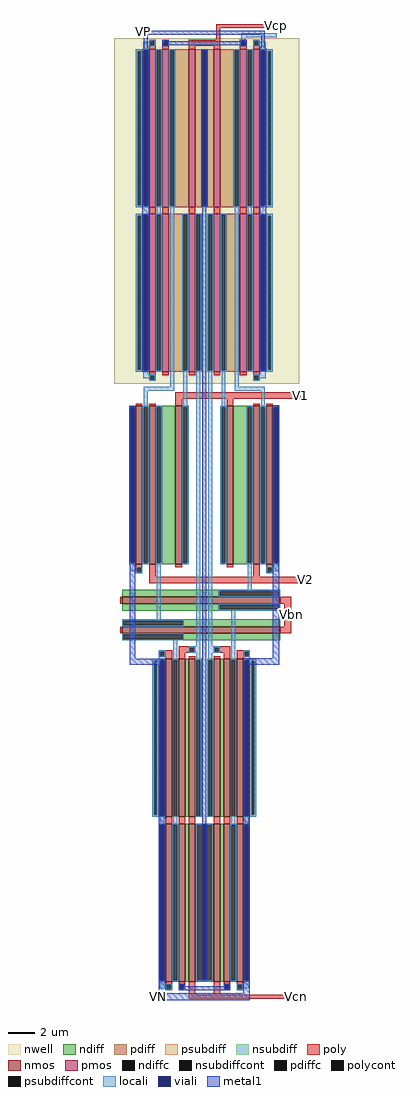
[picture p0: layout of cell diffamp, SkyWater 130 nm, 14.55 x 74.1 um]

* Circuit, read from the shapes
.subckt diffamp Vcp Vbp V1 V2 Vbn Vcn VN VP
XM1 n1 Vbn n2 VN sky130_fd_pr__nfet_01v8 w=12 l=0.5
XM2 n3 Vbn n4 VN sky130_fd_pr__nfet_01v8 w=12 l=0.5
XM3 n5 VN VN VN sky130_fd_pr__nfet_01v8 w=12 l=0.5
XM4 n1 V2 n5 VN sky130_fd_pr__nfet_01v8 w=12 l=0.5
XM5 n2 VN VN VN sky130_fd_pr__nfet_01v8 w=12 l=0.5 m=2
XM6 n6 V1 n1 VN sky130_fd_pr__nfet_01v8 w=12 l=0.5
XM7 n7 n8 n2 VN sky130_fd_pr__nfet_01v8 w=12 l=0.5
XM8 n9 n8 n2 VN sky130_fd_pr__nfet_01v8 w=12 l=0.5
XM9 n10 Vcn n7 VN sky130_fd_pr__nfet_01v8 w=12 l=0.5
XM10 n8 Vcn n9 VN sky130_fd_pr__nfet_01v8 w=12 l=0.5
XM11 n11 Vcn n10 VN sky130_fd_pr__nfet_01v8 w=12 l=0.5
XM12 n12 Vcn n8 VN sky130_fd_pr__nfet_01v8 w=12 l=0.5
XM13 n4 n8 n11 VN sky130_fd_pr__nfet_01v8 w=12 l=0.5
XM14 n4 n8 n12 VN sky130_fd_pr__nfet_01v8 w=12 l=0.5
XM15 n3 V1 n13 VN sky130_fd_pr__nfet_01v8 w=12 l=0.5
XM16 VN VN n4 VN sky130_fd_pr__nfet_01v8 w=12 l=0.5 m=2
XM17 n14 V2 n3 VN sky130_fd_pr__nfet_01v8 w=12 l=0.5
XM18 VN VN n14 VN sky130_fd_pr__nfet_01v8 w=12 l=0.5
XM19 n15 VP VP VP sky130_fd_pr__pfet_01v8 w=12 l=0.5 m=2
XM20 n6 Vbp n15 VP sky130_fd_pr__pfet_01v8 w=12 l=0.5
XM21 n5 Vbp n15 VP sky130_fd_pr__pfet_01v8 w=12 l=0.5
XM22 n8 Vcp n6 VP sky130_fd_pr__pfet_01v8 w=12 l=0.5
XM23 n10 Vcp n5 VP sky130_fd_pr__pfet_01v8 w=12 l=0.5
XM24 n13 Vcp n8 VP sky130_fd_pr__pfet_01v8 w=12 l=0.5
XM25 n14 Vcp n10 VP sky130_fd_pr__pfet_01v8 w=12 l=0.5
XM26 n16 Vbp n13 VP sky130_fd_pr__pfet_01v8 w=12 l=0.5
XM27 n16 Vbp n14 VP sky130_fd_pr__pfet_01v8 w=12 l=0.5
XM28 VP VP n16 VP sky130_fd_pr__pfet_01v8 w=12 l=0.5 m=2
.ends

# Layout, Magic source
magic
tech sky130A
<< nwell >>
rect -775 -1380 630 1240
<< nmos >>
rect -610 -2750 -560 -1550
rect -510 -2750 -460 -1550
rect -310 -2750 -260 -1550
rect 80 -2750 130 -1550
rect 280 -2750 330 -1550
rect 380 -2750 430 -1550
rect -715 -3050 485 -3000
rect -715 -3275 485 -3225
rect -385 -4670 -335 -3470
rect -285 -4670 -235 -3470
rect -210 -4670 -160 -3470
rect -20 -4670 30 -3470
rect 55 -4670 105 -3470
rect 155 -4670 205 -3470
rect -385 -5920 -335 -4720
rect -285 -5920 -235 -4720
rect -210 -5920 -160 -4720
rect -20 -5920 30 -4720
rect 55 -5920 105 -4720
rect 155 -5920 205 -4720
<< pmos >>
rect -510 -40 -460 1160
rect -410 -40 -360 1160
rect -210 -40 -160 1160
rect -20 -40 30 1160
rect 180 -40 230 1160
rect 280 -40 330 1160
rect -510 -1290 -460 -90
rect -410 -1290 -360 -90
rect -210 -1290 -160 -90
rect -20 -1290 30 -90
rect 180 -1290 230 -90
rect 280 -1290 330 -90
<< ndiff >>
rect -660 -1560 -610 -1550
rect -660 -2740 -650 -1560
rect -620 -2740 -610 -1560
rect -660 -2750 -610 -2740
rect -560 -1560 -510 -1550
rect -560 -2740 -550 -1560
rect -520 -2740 -510 -1560
rect -560 -2750 -510 -2740
rect -460 -1560 -310 -1550
rect -460 -2740 -450 -1560
rect -420 -2740 -310 -1560
rect -460 -2750 -310 -2740
rect -260 -1560 -210 -1550
rect -260 -2740 -250 -1560
rect -220 -2740 -210 -1560
rect -260 -2750 -210 -2740
rect 30 -1560 80 -1550
rect 30 -2740 40 -1560
rect 70 -2740 80 -1560
rect 30 -2750 80 -2740
rect 130 -1560 280 -1550
rect 130 -2740 240 -1560
rect 270 -2740 280 -1560
rect 130 -2750 280 -2740
rect 330 -1560 380 -1550
rect 330 -2740 340 -1560
rect 370 -2740 380 -1560
rect 330 -2750 380 -2740
rect 430 -1560 480 -1550
rect 430 -2740 440 -1560
rect 470 -2740 480 -1560
rect 430 -2750 480 -2740
rect -715 -2955 485 -2945
rect -715 -2990 25 -2955
rect 475 -2990 485 -2955
rect -715 -3000 485 -2990
rect -715 -3060 485 -3050
rect -715 -3095 25 -3060
rect 475 -3095 485 -3060
rect -715 -3105 485 -3095
rect -715 -3180 485 -3170
rect -715 -3215 -705 -3180
rect -255 -3215 485 -3180
rect -715 -3225 485 -3215
rect -715 -3285 485 -3275
rect -715 -3320 -705 -3285
rect -255 -3320 485 -3285
rect -715 -3330 485 -3320
rect -435 -3480 -385 -3470
rect -435 -4660 -425 -3480
rect -395 -4660 -385 -3480
rect -435 -4670 -385 -4660
rect -335 -3480 -285 -3470
rect -335 -4660 -325 -3480
rect -295 -4660 -285 -3480
rect -335 -4670 -285 -4660
rect -235 -4670 -210 -3470
rect -160 -3480 -110 -3470
rect -160 -4660 -150 -3480
rect -120 -4660 -110 -3480
rect -160 -4670 -110 -4660
rect -70 -3480 -20 -3470
rect -70 -4660 -60 -3480
rect -30 -4660 -20 -3480
rect -70 -4670 -20 -4660
rect 30 -4670 55 -3470
rect 105 -3480 155 -3470
rect 105 -4660 115 -3480
rect 145 -4660 155 -3480
rect 105 -4670 155 -4660
rect 205 -3480 255 -3470
rect 205 -4660 215 -3480
rect 245 -4660 255 -3480
rect 205 -4670 255 -4660
rect -435 -4730 -385 -4720
rect -435 -5910 -425 -4730
rect -395 -5910 -385 -4730
rect -435 -5920 -385 -5910
rect -335 -4730 -285 -4720
rect -335 -5910 -325 -4730
rect -295 -5910 -285 -4730
rect -335 -5920 -285 -5910
rect -235 -5920 -210 -4720
rect -160 -4735 -20 -4720
rect -160 -5905 -145 -4735
rect -35 -5905 -20 -4735
rect -160 -5920 -20 -5905
rect 30 -5920 55 -4720
rect 105 -4730 155 -4720
rect 105 -5910 115 -4730
rect 145 -5910 155 -4730
rect 105 -5920 155 -5910
rect 205 -4730 255 -4720
rect 205 -5910 215 -4730
rect 245 -5910 255 -4730
rect 205 -5920 255 -5910
<< pdiff >>
rect -560 1150 -510 1160
rect -560 -30 -550 1150
rect -520 -30 -510 1150
rect -560 -40 -510 -30
rect -460 1150 -410 1160
rect -460 -30 -450 1150
rect -420 -30 -410 1150
rect -460 -40 -410 -30
rect -360 1150 -210 1160
rect -360 -30 -350 1150
rect -320 -30 -210 1150
rect -360 -40 -210 -30
rect -160 1150 -20 1160
rect -160 -30 -105 1150
rect -75 -30 -20 1150
rect -160 -40 -20 -30
rect 30 1150 180 1160
rect 30 -30 140 1150
rect 170 -30 180 1150
rect 30 -40 180 -30
rect 230 1150 280 1160
rect 230 -30 240 1150
rect 270 -30 280 1150
rect 230 -40 280 -30
rect 330 1150 380 1160
rect 330 -30 340 1150
rect 370 -30 380 1150
rect 330 -40 380 -30
rect -560 -100 -510 -90
rect -560 -1280 -550 -100
rect -520 -1280 -510 -100
rect -560 -1290 -510 -1280
rect -460 -100 -410 -90
rect -460 -1280 -450 -100
rect -420 -1280 -410 -100
rect -460 -1290 -410 -1280
rect -360 -100 -210 -90
rect -360 -1280 -250 -100
rect -220 -1280 -210 -100
rect -360 -1290 -210 -1280
rect -160 -100 -110 -90
rect -160 -1280 -150 -100
rect -120 -1280 -110 -100
rect -160 -1290 -110 -1280
rect -70 -100 -20 -90
rect -70 -1280 -60 -100
rect -30 -1280 -20 -100
rect -70 -1290 -20 -1280
rect 30 -100 180 -90
rect 30 -1280 40 -100
rect 70 -1280 180 -100
rect 30 -1290 180 -1280
rect 230 -100 280 -90
rect 230 -1280 240 -100
rect 270 -1280 280 -100
rect 230 -1290 280 -1280
rect 330 -100 380 -90
rect 330 -1280 340 -100
rect 370 -1280 380 -100
rect 330 -1290 380 -1280
<< ndiffc >>
rect -650 -2740 -620 -1560
rect -550 -2740 -520 -1560
rect -450 -2740 -420 -1560
rect -250 -2740 -220 -1560
rect 40 -2740 70 -1560
rect 240 -2740 270 -1560
rect 340 -2740 370 -1560
rect 440 -2740 470 -1560
rect 25 -2990 475 -2955
rect 25 -3095 475 -3060
rect -705 -3215 -255 -3180
rect -705 -3320 -255 -3285
rect -425 -4660 -395 -3480
rect -325 -4660 -295 -3480
rect -150 -4660 -120 -3480
rect -60 -4660 -30 -3480
rect 115 -4660 145 -3480
rect 215 -4660 245 -3480
rect -425 -5910 -395 -4730
rect -325 -5910 -295 -4730
rect -145 -5905 -35 -4735
rect 115 -5910 145 -4730
rect 215 -5910 245 -4730
<< pdiffc >>
rect -550 -30 -520 1150
rect -450 -30 -420 1150
rect -350 -30 -320 1150
rect -105 -30 -75 1150
rect 140 -30 170 1150
rect 240 -30 270 1150
rect 340 -30 370 1150
rect -550 -1280 -520 -100
rect -450 -1280 -420 -100
rect -250 -1280 -220 -100
rect -150 -1280 -120 -100
rect -60 -1280 -30 -100
rect 40 -1280 70 -100
rect 240 -1280 270 -100
rect 340 -1280 370 -100
<< psubdiff >>
rect -485 -3485 -435 -3470
rect -485 -4655 -470 -3485
rect -450 -4655 -435 -3485
rect -485 -4670 -435 -4655
rect 255 -3485 305 -3470
rect 255 -4655 270 -3485
rect 290 -4655 305 -3485
rect 255 -4670 305 -4655
<< nsubdiff >>
rect -610 1145 -560 1160
rect -610 -25 -595 1145
rect -575 -25 -560 1145
rect -610 -40 -560 -25
rect 380 1145 430 1160
rect 380 -25 395 1145
rect 415 -25 430 1145
rect 380 -40 430 -25
rect -610 -105 -560 -90
rect -610 -1275 -595 -105
rect -575 -1275 -560 -105
rect -610 -1290 -560 -1275
rect 380 -105 430 -90
rect 380 -1275 395 -105
rect 415 -1275 430 -105
rect 380 -1290 430 -1275
<< psubdiffcont >>
rect -470 -4655 -450 -3485
rect 270 -4655 290 -3485
<< nsubdiffcont >>
rect -595 -25 -575 1145
rect 395 -25 415 1145
rect -595 -1275 -575 -105
rect 395 -1275 415 -105
<< poly >>
rect 0 1320 460 1350
rect 0 1230 30 1320
rect -510 1220 -460 1230
rect -510 1190 -500 1220
rect -470 1190 -460 1220
rect -510 1160 -460 1190
rect -410 1220 -360 1230
rect -410 1190 -400 1220
rect -370 1190 -360 1220
rect -410 1160 -360 1190
rect -210 1185 30 1230
rect -210 1160 -160 1185
rect -20 1160 30 1185
rect 180 1220 230 1230
rect 180 1190 190 1220
rect 220 1190 230 1220
rect 180 1160 230 1190
rect 280 1220 330 1230
rect 280 1190 290 1220
rect 320 1190 330 1220
rect 280 1160 330 1190
rect -510 -90 -460 -40
rect -410 -90 -360 -40
rect -210 -90 -160 -40
rect -20 -90 30 -40
rect 180 -90 230 -40
rect 280 -90 330 -40
rect -510 -1320 -460 -1290
rect -410 -1315 -360 -1290
rect -210 -1315 -160 -1290
rect -20 -1315 30 -1290
rect 180 -1315 230 -1290
rect -510 -1350 -500 -1320
rect -470 -1350 -460 -1320
rect -510 -1360 -460 -1350
rect 280 -1320 330 -1290
rect 280 -1350 290 -1320
rect 320 -1350 330 -1320
rect 280 -1360 330 -1350
rect -310 -1495 640 -1445
rect -610 -1550 -560 -1535
rect -510 -1550 -460 -1535
rect -310 -1550 -260 -1495
rect 80 -1550 130 -1495
rect 280 -1550 330 -1535
rect 380 -1550 430 -1535
rect -610 -2780 -560 -2750
rect -610 -2810 -600 -2780
rect -570 -2810 -560 -2780
rect -610 -2820 -560 -2810
rect -510 -2845 -460 -2750
rect -310 -2775 -260 -2750
rect 80 -2775 130 -2750
rect 280 -2845 330 -2750
rect 380 -2780 430 -2750
rect 380 -2810 390 -2780
rect 420 -2810 430 -2780
rect 380 -2820 430 -2810
rect -510 -2895 680 -2845
rect -730 -3050 -715 -3000
rect 485 -3050 570 -3000
rect 515 -3225 570 -3050
rect -730 -3275 -715 -3225
rect 485 -3275 570 -3225
rect -285 -3385 -160 -3375
rect -435 -3415 -335 -3405
rect -435 -3445 -425 -3415
rect -395 -3445 -335 -3415
rect -435 -3455 -335 -3445
rect -385 -3470 -335 -3455
rect -285 -3415 -200 -3385
rect -170 -3415 -160 -3385
rect -285 -3425 -160 -3415
rect -20 -3385 105 -3375
rect -20 -3415 -10 -3385
rect 20 -3415 105 -3385
rect -20 -3425 105 -3415
rect -285 -3470 -235 -3425
rect -210 -3470 -160 -3450
rect -20 -3470 30 -3450
rect 55 -3470 105 -3425
rect 155 -3415 255 -3405
rect 155 -3445 215 -3415
rect 245 -3445 255 -3415
rect 155 -3455 255 -3445
rect 155 -3470 205 -3455
rect -385 -4720 -335 -4670
rect -285 -4720 -235 -4670
rect -210 -4720 -160 -4670
rect -20 -4720 30 -4670
rect 55 -4720 105 -4670
rect 155 -4720 205 -4670
rect -385 -5945 -335 -5920
rect -385 -5975 -375 -5945
rect -345 -5975 -335 -5945
rect -385 -5985 -335 -5975
rect -285 -5945 -235 -5920
rect -285 -5975 -275 -5945
rect -245 -5975 -235 -5945
rect -285 -5985 -235 -5975
rect -210 -6020 -160 -5920
rect -20 -6020 30 -5920
rect 55 -5945 105 -5920
rect 55 -5975 65 -5945
rect 95 -5975 105 -5945
rect 55 -5985 105 -5975
rect 155 -5945 205 -5920
rect 155 -5975 165 -5945
rect 195 -5975 205 -5945
rect 155 -5985 205 -5975
rect -210 -6050 610 -6020
<< polycont >>
rect -500 1190 -470 1220
rect -400 1190 -370 1220
rect 190 1190 220 1220
rect 290 1190 320 1220
rect -500 -1350 -470 -1320
rect 290 -1350 320 -1320
rect -600 -2810 -570 -2780
rect 390 -2810 420 -2780
rect -425 -3445 -395 -3415
rect -200 -3415 -170 -3385
rect -10 -3415 20 -3385
rect 215 -3445 245 -3415
rect -375 -5975 -345 -5945
rect -275 -5975 -245 -5945
rect 65 -5975 95 -5945
rect 165 -5975 195 -5945
<< locali >>
rect 190 1250 460 1280
rect 190 1230 220 1250
rect -510 1220 -460 1230
rect -510 1215 -500 1220
rect -555 1190 -500 1215
rect -470 1190 -460 1220
rect -555 1180 -460 1190
rect -410 1220 -360 1230
rect -410 1190 -400 1220
rect -370 1190 -360 1220
rect -410 1180 -360 1190
rect 180 1220 230 1230
rect 180 1190 190 1220
rect 220 1190 230 1220
rect 180 1180 230 1190
rect 280 1220 330 1230
rect 280 1190 290 1220
rect 320 1215 330 1220
rect 320 1190 375 1215
rect 280 1180 375 1190
rect -555 1160 -515 1180
rect 335 1160 375 1180
rect -610 1150 -510 1160
rect -610 1145 -550 1150
rect -610 -25 -595 1145
rect -575 -25 -550 1145
rect -610 -30 -550 -25
rect -520 -30 -510 1150
rect -610 -40 -510 -30
rect -460 1150 -410 1160
rect -460 -30 -450 1150
rect -420 -30 -410 1150
rect -460 -40 -410 -30
rect -360 1150 -310 1160
rect -360 -30 -350 1150
rect -320 -30 -310 1150
rect -360 -40 -310 -30
rect -115 1150 -65 1155
rect -115 -30 -105 1150
rect -75 -30 -65 1150
rect -115 -40 -65 -30
rect 130 1150 180 1160
rect 130 -30 140 1150
rect 170 -30 180 1150
rect 130 -40 180 -30
rect 230 1150 280 1160
rect 230 -30 240 1150
rect 270 -30 280 1150
rect 230 -40 280 -30
rect 330 1150 430 1160
rect 330 -30 340 1150
rect 370 1145 430 1150
rect 370 -25 395 1145
rect 415 -25 430 1145
rect 370 -30 430 -25
rect 330 -40 430 -30
rect -610 -100 -510 -90
rect -450 -95 -420 -40
rect -610 -105 -550 -100
rect -610 -1275 -595 -105
rect -575 -1275 -550 -105
rect -610 -1280 -550 -1275
rect -520 -1280 -510 -100
rect -610 -1290 -510 -1280
rect -460 -100 -410 -95
rect -460 -1280 -450 -100
rect -420 -1280 -410 -100
rect -460 -1290 -410 -1280
rect -555 -1310 -515 -1290
rect -555 -1320 -460 -1310
rect -555 -1340 -500 -1320
rect -510 -1350 -500 -1340
rect -470 -1350 -460 -1320
rect -510 -1360 -460 -1350
rect -350 -1405 -320 -40
rect -260 -100 -210 -95
rect -260 -1280 -250 -100
rect -220 -1280 -210 -100
rect -260 -1290 -210 -1280
rect -160 -100 -110 -95
rect -160 -1280 -150 -100
rect -120 -1280 -110 -100
rect -160 -1290 -110 -1280
rect -70 -100 -20 -95
rect -70 -1280 -60 -100
rect -30 -1280 -20 -100
rect -70 -1290 -20 -1280
rect 30 -100 80 -95
rect 30 -1280 40 -100
rect 70 -1280 80 -100
rect 30 -1290 80 -1280
rect -550 -1435 -320 -1405
rect -550 -1550 -520 -1435
rect -660 -1560 -610 -1550
rect -660 -2740 -650 -1560
rect -620 -2740 -610 -1560
rect -660 -2750 -610 -2740
rect -560 -1560 -510 -1550
rect -560 -2740 -550 -1560
rect -520 -2740 -510 -1560
rect -560 -2750 -510 -2740
rect -460 -1560 -410 -1550
rect -250 -1555 -220 -1290
rect -460 -2740 -450 -1560
rect -420 -2740 -410 -1560
rect -460 -2750 -410 -2740
rect -260 -1560 -210 -1555
rect -260 -2740 -250 -1560
rect -220 -2740 -210 -1560
rect -260 -2750 -210 -2740
rect -655 -2770 -615 -2750
rect -655 -2780 -560 -2770
rect -655 -2805 -600 -2780
rect -610 -2810 -600 -2805
rect -570 -2810 -560 -2780
rect -610 -2820 -560 -2810
rect -450 -3170 -420 -2750
rect -715 -3180 -245 -3170
rect -715 -3215 -705 -3180
rect -255 -3215 -245 -3180
rect -715 -3225 -245 -3215
rect -715 -3285 -245 -3275
rect -715 -3320 -705 -3285
rect -255 -3320 -245 -3285
rect -715 -3330 -245 -3320
rect -435 -3415 -385 -3405
rect -435 -3445 -425 -3415
rect -395 -3445 -385 -3415
rect -435 -3470 -385 -3445
rect -485 -3480 -385 -3470
rect -325 -3475 -295 -3330
rect -150 -3375 -120 -1290
rect -210 -3385 -120 -3375
rect -210 -3415 -200 -3385
rect -170 -3415 -120 -3385
rect -210 -3425 -120 -3415
rect -150 -3470 -120 -3425
rect -60 -3375 -30 -1290
rect 40 -1550 70 -1290
rect 140 -1405 170 -40
rect 240 -95 270 -40
rect 230 -100 280 -95
rect 230 -1280 240 -100
rect 270 -1280 280 -100
rect 230 -1290 280 -1280
rect 330 -100 430 -90
rect 330 -1280 340 -100
rect 370 -105 430 -100
rect 370 -1275 395 -105
rect 415 -1275 430 -105
rect 370 -1280 430 -1275
rect 330 -1290 430 -1280
rect 330 -1310 375 -1290
rect 280 -1320 375 -1310
rect 280 -1350 290 -1320
rect 320 -1340 375 -1320
rect 320 -1350 330 -1340
rect 280 -1360 330 -1350
rect 140 -1435 370 -1405
rect 340 -1550 370 -1435
rect 30 -1560 80 -1550
rect 30 -2740 40 -1560
rect 70 -2740 80 -1560
rect 30 -2750 80 -2740
rect 230 -1560 280 -1550
rect 230 -2740 240 -1560
rect 270 -2740 280 -1560
rect 230 -2750 280 -2740
rect 330 -1560 380 -1550
rect 330 -2740 340 -1560
rect 370 -2740 380 -1560
rect 330 -2750 380 -2740
rect 430 -1560 480 -1550
rect 430 -2740 440 -1560
rect 470 -2740 480 -1560
rect 430 -2750 480 -2740
rect 240 -2945 270 -2750
rect 435 -2770 475 -2750
rect 380 -2780 475 -2770
rect 380 -2810 390 -2780
rect 420 -2805 475 -2780
rect 420 -2810 430 -2805
rect 380 -2820 430 -2810
rect 15 -2955 485 -2945
rect 15 -2990 25 -2955
rect 475 -2990 485 -2955
rect 15 -3000 485 -2990
rect 15 -3060 485 -3050
rect 15 -3095 25 -3060
rect 475 -3095 485 -3060
rect 15 -3105 485 -3095
rect -60 -3385 30 -3375
rect -60 -3415 -10 -3385
rect 20 -3415 30 -3385
rect -60 -3425 30 -3415
rect -60 -3470 -30 -3425
rect -485 -3485 -425 -3480
rect -485 -4655 -470 -3485
rect -450 -4655 -425 -3485
rect -485 -4660 -425 -4655
rect -395 -4660 -385 -3480
rect -485 -4670 -385 -4660
rect -330 -3480 -290 -3475
rect -330 -4660 -325 -3480
rect -295 -4660 -290 -3480
rect -330 -4665 -290 -4660
rect -160 -3480 -110 -3470
rect -160 -4660 -150 -3480
rect -120 -4660 -110 -3480
rect -425 -4725 -395 -4670
rect -325 -4720 -295 -4665
rect -160 -4670 -110 -4660
rect -70 -3480 -20 -3470
rect 115 -3475 145 -3105
rect 205 -3415 255 -3405
rect 205 -3445 215 -3415
rect 245 -3445 255 -3415
rect 205 -3470 255 -3445
rect -70 -4660 -60 -3480
rect -30 -4660 -20 -3480
rect -70 -4670 -20 -4660
rect 110 -3480 150 -3475
rect 110 -4660 115 -3480
rect 145 -4660 150 -3480
rect 110 -4665 150 -4660
rect 205 -3480 305 -3470
rect 205 -4660 215 -3480
rect 245 -3485 305 -3480
rect 245 -4655 270 -3485
rect 290 -4655 305 -3485
rect 245 -4660 305 -4655
rect 115 -4720 145 -4665
rect 205 -4670 305 -4660
rect -430 -4730 -390 -4725
rect -430 -5910 -425 -4730
rect -395 -5910 -390 -4730
rect -430 -5935 -390 -5910
rect -335 -4730 -285 -4720
rect -335 -5910 -325 -4730
rect -295 -5910 -285 -4730
rect -335 -5915 -285 -5910
rect -155 -4730 -25 -4725
rect -155 -4735 -105 -4730
rect -75 -4735 -25 -4730
rect -155 -5905 -145 -4735
rect -35 -5905 -25 -4735
rect -155 -5915 -25 -5905
rect 105 -4730 155 -4720
rect 215 -4725 245 -4670
rect 105 -5910 115 -4730
rect 145 -5910 155 -4730
rect 105 -5915 155 -5910
rect 210 -4730 250 -4725
rect 210 -5910 215 -4730
rect 245 -5910 250 -4730
rect 210 -5935 250 -5910
rect -430 -5945 -335 -5935
rect -430 -5970 -375 -5945
rect -385 -5975 -375 -5970
rect -345 -5975 -335 -5945
rect -385 -5985 -335 -5975
rect -285 -5945 -235 -5935
rect -285 -5975 -275 -5945
rect -245 -5975 -235 -5945
rect -285 -5985 -235 -5975
rect 55 -5945 105 -5935
rect 55 -5975 65 -5945
rect 95 -5975 105 -5945
rect 55 -5985 105 -5975
rect 155 -5945 250 -5935
rect 155 -5975 165 -5945
rect 195 -5970 250 -5945
rect 195 -5975 205 -5970
rect 155 -5985 205 -5975
<< viali >>
rect -400 1190 -370 1220
rect 190 1190 220 1220
rect -550 -30 -520 1150
rect -105 -30 -75 1150
rect 340 -30 370 1150
rect -550 -1280 -520 -100
rect -650 -2740 -620 -1560
rect 340 -1280 370 -100
rect 440 -2740 470 -1560
rect -425 -4660 -395 -3480
rect 215 -4660 245 -3480
rect -425 -5910 -395 -4730
rect -105 -4735 -75 -4730
rect -105 -5900 -75 -4735
rect 215 -5910 245 -4730
rect -275 -5975 -245 -5945
rect 65 -5975 95 -5945
<< metal1 >>
rect -550 1270 370 1300
rect -550 1160 -520 1270
rect -410 1220 -360 1230
rect 180 1220 230 1230
rect -410 1190 -400 1220
rect -370 1190 190 1220
rect 220 1190 230 1220
rect -410 1180 -360 1190
rect 180 1180 230 1190
rect 340 1165 370 1270
rect -560 1150 -510 1160
rect -560 -30 -550 1150
rect -520 -30 -510 1150
rect -560 -100 -510 -30
rect -115 1150 -65 1155
rect -115 -30 -105 1150
rect -75 -30 -65 1150
rect -115 -40 -65 -30
rect 330 1150 380 1165
rect 330 -30 340 1150
rect 370 -30 380 1150
rect -560 -1280 -550 -100
rect -520 -1280 -510 -100
rect -560 -1290 -510 -1280
rect -660 -1560 -610 -1550
rect -660 -2740 -650 -1560
rect -620 -2740 -610 -1560
rect -660 -2750 -610 -2740
rect -655 -3470 -615 -2750
rect -655 -3480 -385 -3470
rect -655 -3515 -425 -3480
rect -435 -4660 -425 -3515
rect -395 -4660 -385 -3480
rect -435 -4730 -385 -4660
rect -105 -4725 -75 -40
rect 330 -100 380 -30
rect 330 -1280 340 -100
rect 370 -1280 380 -100
rect 330 -1285 380 -1280
rect 430 -1560 480 -1545
rect 430 -2740 440 -1560
rect 470 -2740 480 -1560
rect 430 -3465 480 -2740
rect 205 -3480 480 -3465
rect 205 -4660 215 -3480
rect 245 -3515 480 -3480
rect 245 -4660 255 -3515
rect -435 -5910 -425 -4730
rect -395 -5910 -385 -4730
rect -110 -4730 -70 -4725
rect -110 -5900 -105 -4730
rect -75 -5900 -70 -4730
rect -110 -5910 -70 -5900
rect 205 -4730 255 -4660
rect 205 -5910 215 -4730
rect 245 -5910 255 -4730
rect -435 -6010 -385 -5910
rect -285 -5945 -235 -5935
rect -285 -5975 -275 -5945
rect -245 -5955 -235 -5945
rect 55 -5945 105 -5935
rect 55 -5955 65 -5945
rect -245 -5975 65 -5955
rect 95 -5975 105 -5945
rect -285 -5985 105 -5975
rect 205 -6010 255 -5910
rect -435 -6060 255 -6010
<< labels >>
rlabel poly 460 1335 460 1335 3 Vcp
port 1 e
rlabel locali 460 1265 460 1265 3 Vbp
port 2 e
rlabel poly 640 -1470 640 -1470 3 V1
port 3 e
rlabel poly 680 -2870 680 -2870 3 V2
port 4 e
rlabel poly 570 -3135 570 -3135 1 Vbn
port 5 n
rlabel poly 610 -6035 610 -6035 3 Vcn
port 6 e
rlabel metal1 -435 -6030 -435 -6030 1 VN
port 7 n
rlabel metal1 -550 1290 -550 1290 1 VP
port 8 n
<< end >>
